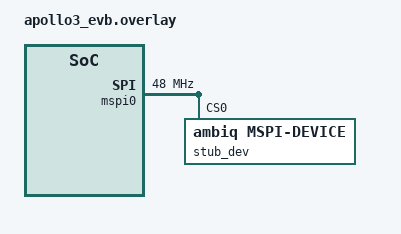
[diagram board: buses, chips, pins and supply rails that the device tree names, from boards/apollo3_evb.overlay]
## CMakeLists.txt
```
# Copyright (c) 2026 Ambiq Micro Inc. <www.ambiq.com>
# SPDX-License-Identifier: Apache-2.0

cmake_minimum_required(VERSION 3.20.0)

find_package(Zephyr REQUIRED HINTS $ENV{ZEPHYR_BASE})
project(apollo3_mspi_loopback)

target_sources(app PRIVATE src/main.c)
```

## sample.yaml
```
# Copyright (c) 2026 Ambiq Micro Inc. <www.ambiq.com>
# SPDX-License-Identifier: Apache-2.0

sample:
  name: Apollo3 MSPI single-board self-test
  description: >
    Single-board Apollo3 MSPI driver smoke test. Configures MSPI0 in
    single-bit single-rate mode against a stub MSPI device, drives
    several transmit transactions and verifies that the driver returns
    success. Useful for validating the ambiq,mspi-controller driver
    when no external MSPI memory is present. Optionally jumper P22 to
    P26 (D0 to D1) for half-duplex wire integrity verification.
tests:
  sample.boards.ambiq.apollo3_mspi_loopback:
    tags:
      - drivers
      - mspi
      - samples
    filter: dt_compat_enabled("ambiq,mspi-controller")
    platform_allow:
      - apollo3_evb
    integration_platforms:
      - apollo3_evb
    harness: console
    harness_config:
      type: one_line
      regex:
        - "apollo3_mspi_loopback: PASS"
```

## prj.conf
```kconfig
# Copyright (c) 2026 Ambiq Micro Inc. <www.ambiq.com>
# SPDX-License-Identifier: Apache-2.0

CONFIG_STDOUT_CONSOLE=y
CONFIG_LOG=y
CONFIG_LOG_DEFAULT_LEVEL=3

CONFIG_MSPI=y
CONFIG_MSPI_AMBIQ_CONTROLLER=y
CONFIG_MSPI_INIT_PRIORITY=40
```

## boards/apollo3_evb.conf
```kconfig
# Copyright (c) 2026 Ambiq Micro Inc. <www.ambiq.com>
# SPDX-License-Identifier: Apache-2.0

# Apollo3 Blue has 320 KB of SRAM (vs 704 KB on Apollo3 Plus). Trim the
# default kernel allocations so the sample fits.
CONFIG_HEAP_MEM_POOL_SIZE=0
CONFIG_MAIN_STACK_SIZE=768
CONFIG_IDLE_STACK_SIZE=256
CONFIG_ISR_STACK_SIZE=768
CONFIG_SYSTEM_WORKQUEUE_STACK_SIZE=384
CONFIG_LOG_MODE_MINIMAL=y
```

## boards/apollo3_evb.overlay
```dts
/*
 * Copyright (c) 2026 Ambiq Micro Inc. <www.ambiq.com>
 * SPDX-License-Identifier: Apache-2.0
 *
 * Apollo3 MSPI single-board self-test overlay. No external memory device is
 * required: a stub MSPI device is declared just so the controller has a
 * target to address. Issuing transfers will toggle the MSPI pins (visible on
 * a logic analyzer / scope on P22 D0, P24 SCK, P19 nCE) and exercise the
 * ambiq,mspi-controller driver code paths.
 */

/ {
	aliases {
		mspi-stub = &stub_dev;
	};
};

&mspi0 {
	pinctrl-0 = <&mspi0_default>;
	pinctrl-1 = <&mspi0_sleep>;
	pinctrl-names = "default", "sleep";
	status = "okay";

	clock-frequency = <48000000>;

	ce-gpios = <&gpio0_31 19 GPIO_ACTIVE_LOW>;

	cmdq-buffer-location = ".mspi_buff";
	cmdq-buffer-size = <256>;

	stub_dev: stub_dev@0 {
		compatible = "ambiq,mspi-device";
		status = "okay";
		reg = <0>;
		mspi-max-frequency = <1000000>;
		mspi-io-mode = "MSPI_IO_MODE_SINGLE";
		mspi-data-rate = "MSPI_DATA_RATE_SINGLE";
		mspi-cpp-mode = "MSPI_CPP_MODE_0";
		mspi-endian = "MSPI_BIG_ENDIAN";
		mspi-ce-polarity = "MSPI_CE_ACTIVE_LOW";
		mspi-hardware-ce-num = <0>;
		read-command = <0x03>;
		write-command = <0x02>;
		command-length = "INSTR_1_BYTE";
		address-length = "ADDR_3_BYTE";
		rx-dummy = <0>;
		tx-dummy = <0>;
		ce-break-config = <0 0>;
		ambiq,timing-config-mask = <0>;
	};
};
```

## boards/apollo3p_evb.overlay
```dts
/*
 * Copyright (c) 2026 Ambiq Micro Inc. <www.ambiq.com>
 * SPDX-License-Identifier: Apache-2.0
 *
 * Apollo3 Plus single-board self-test overlay (regression of the
 * Apollo3 Blue overlay). MSPI0 D0=P22, D1=P26, D2=P4, D3=P23, SCK=P24,
 * nCE0=P37. No external memory is required: a stub MSPI device is
 * declared so the controller has a target to address.
 */

/ {
	aliases {
		mspi-stub = &stub_dev;
	};
};

&mspi0 {
	pinctrl-0 = <&mspi0_default>;
	pinctrl-names = "default";
	status = "okay";

	clock-frequency = <48000000>;

	ce-gpios = <&gpio32_63 5 GPIO_ACTIVE_LOW>;

	cmdq-buffer-location = ".mspi_buff";
	cmdq-buffer-size = <256>;

	stub_dev: stub_dev@0 {
		compatible = "ambiq,mspi-device";
		status = "okay";
		reg = <0>;
		mspi-max-frequency = <1000000>;
		mspi-io-mode = "MSPI_IO_MODE_SINGLE";
		mspi-data-rate = "MSPI_DATA_RATE_SINGLE";
		mspi-cpp-mode = "MSPI_CPP_MODE_0";
		mspi-endian = "MSPI_BIG_ENDIAN";
		mspi-ce-polarity = "MSPI_CE_ACTIVE_LOW";
		mspi-hardware-ce-num = <0>;
		read-command = <0x03>;
		write-command = <0x02>;
		command-length = "INSTR_1_BYTE";
		address-length = "ADDR_3_BYTE";
		rx-dummy = <0>;
		tx-dummy = <0>;
		ce-break-config = <0 0>;
		ambiq,timing-config-mask = <0>;
	};
};
```

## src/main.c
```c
/*
 * Copyright (c) 2026 Ambiq Micro Inc. <www.ambiq.com>
 * SPDX-License-Identifier: Apache-2.0
 *
 * Apollo3 MSPI single-board self-test. Exercises the ambiq,mspi-controller
 * driver against a stub MSPI device. Reports PASS if the driver completes a
 * fixed number of TX transactions without error.
 *
 * No external memory chip is required. With a logic analyzer or scope on
 * MSPI0_D0 (P22), MSPI0_SCK (P24), and NCE19 (P19) the generated waveforms
 * can be observed.
 */

#include <zephyr/kernel.h>
#include <zephyr/device.h>
#include <zephyr/devicetree.h>
#include <zephyr/drivers/mspi.h>
#include <zephyr/logging/log.h>

LOG_MODULE_REGISTER(apollo3_mspi_loopback, LOG_LEVEL_INF);

#define MSPI_BUS    DT_BUS(DT_ALIAS(mspi_stub))
#define MSPI_TARGET DT_ALIAS(mspi_stub)

#define ITERATIONS  8
#define PAYLOAD_LEN 32

static uint8_t tx_buf[PAYLOAD_LEN];

static int run_tx(const struct device *bus, const struct mspi_dev_id *id, uint32_t addr)
{
	struct mspi_xfer_packet pkt = {
		.dir       = MSPI_TX,
		.cmd       = 0x02,
		.address   = addr,
		.num_bytes = PAYLOAD_LEN,
		.data_buf  = tx_buf,
		.cb_mask   = MSPI_BUS_NO_CB,
	};
	struct mspi_xfer xfer = {
		.async       = false,
		.xfer_mode   = MSPI_PIO,
		.cmd_length  = 1,
		.addr_length = 3,
		.priority    = 1,
		.packets     = &pkt,
		.num_packet  = 1,
		.timeout     = 1000,
	};

	return mspi_transceive(bus, id, &xfer);
}

int main(void)
{
	const struct device *bus = DEVICE_DT_GET(MSPI_BUS);
	struct mspi_dev_id id = MSPI_DEVICE_ID_DT(MSPI_TARGET);
	int errors = 0;

	if (!device_is_ready(bus)) {
		LOG_ERR("MSPI bus not ready");
		printk("apollo3_mspi_loopback: FAIL (bus not ready)\n");
		return -ENODEV;
	}

	int ret = mspi_dev_config(bus, &id, MSPI_DEVICE_CONFIG_ALL, NULL);
	if (ret) {
		LOG_ERR("mspi_dev_config failed: %d", ret);
		printk("apollo3_mspi_loopback: FAIL (dev_config=%d)\n", ret);
		return ret;
	}

	for (int i = 0; i < PAYLOAD_LEN; i++) {
		tx_buf[i] = (uint8_t)(0x55 ^ i);
	}

	int64_t t0 = k_uptime_get();

	for (int i = 0; i < ITERATIONS; i++) {
		ret = run_tx(bus, &id, i * PAYLOAD_LEN);
		if (ret) {
			LOG_ERR("iter %d: mspi_transceive=%d", i, ret);
			errors++;
		}
	}

	int64_t elapsed = k_uptime_get() - t0;
	uint32_t total_bytes = (uint32_t)ITERATIONS * (PAYLOAD_LEN + 1 + 3);

	LOG_INF("Completed %d transactions, %u bytes, %lld ms (errors=%d)",
		ITERATIONS, total_bytes, elapsed, errors);

	if (errors == 0) {
		printk("apollo3_mspi_loopback: PASS\n");
		return 0;
	}

	printk("apollo3_mspi_loopback: FAIL (%d transaction errors)\n", errors);
	return -EIO;
}
```
